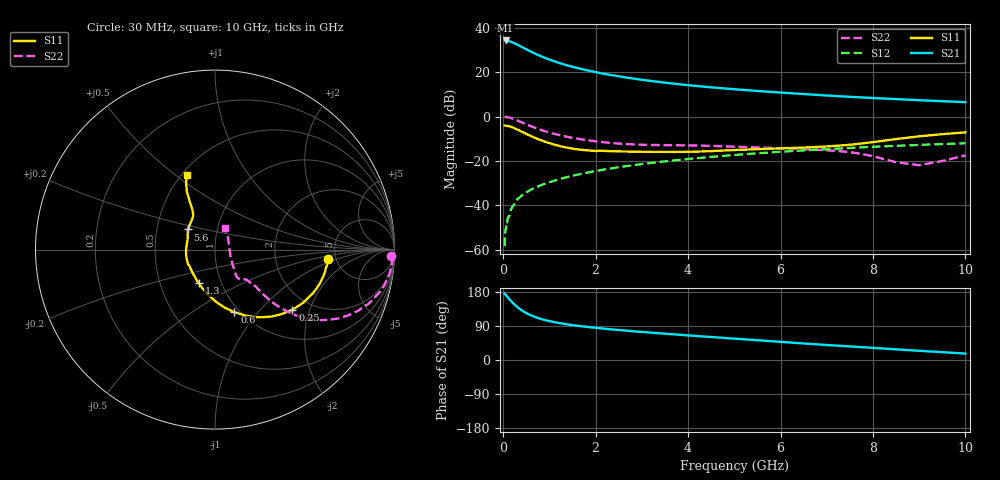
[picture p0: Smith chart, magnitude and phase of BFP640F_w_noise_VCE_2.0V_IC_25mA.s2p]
! Infineon Technologies  Discrete & RF Semiconductors
! BFP640F
! VCE =  2.0 V,  IC =  25 mA
! Common Emitter S-Parameters:  Apr 2013
# GHz  S  MA  R  50
!  f  S11  S21  S12  S22
! GHz  MAG  ANG  MAG  ANG  MAG  ANG  MAG  ANG
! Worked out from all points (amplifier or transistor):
!   99 points, 30 MHz to 10 GHz, reference 50 ohm
!   highest |S21| = 34.4 dB at 50 MHz (marker M1)
!   |S21| within 3 dB of that: start of sweep to 409.1 MHz
!   unconditionally stable (mu >= 1): 2.005 GHz to end of sweep
!   at 350 MHz: K = 0.42, MSG = 34.3 dB, |S12| = -36.5 dB
!   at 3.5 GHz: K = 1.05, MAG = 16.3 dB, |S12| = -20.2 dB
!   at 10 GHz: K = 1.04, MAG = 8.0 dB, |S12| = -12.0 dB
!   lowest NFmin = 0.90 dB at 450 MHz
!   S11 on the Smith chart (normalised r, x): 30 MHz: 4.30, -0.78; 250 MHz: 1.61, -1.54; 600 MHz: 0.94, -0.76; 1.3 GHz: 0.78, -0.31; 5.6 GHz: 0.72, +0.17; 10 GHz: 0.53, +0.55
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0.03  0.6331 -4.9  52.21 175.8  0.0012 110.8  0.9835 -2.2
0.05  0.6292 -8.2  52.5 172.8  0.0029 87.3  0.989 -4.5
0.09  0.6202 -14.5  51.59 166.6  0.0045 85.1  0.9772 -8.8
0.15  0.5972 -24.0  49.63 158.1  0.0074 79.0  0.9443 -14.9
0.2  0.5732 -31.2  47.46 151.6  0.0094 78.9  0.9088 -19.3
0.25  0.5459 -37.8  44.96 145.7  0.011 74.8  0.8673 -23.1
0.3  0.5163 -44.1  42.51 140.2  0.0137 75.2  0.8255 -26.5
0.4  0.4584 -55.3  37.6 131.0  0.0166 71.8  0.7434 -31.7
0.5  0.4088 -64.5  33.14 123.8  0.0197 71.5  0.6714 -35.4
0.6  0.3656 -72.8  29.38 117.8  0.0227 70.5  0.609 -38.1
0.7  0.3291 -80.1  26.19 113.0  0.0252 70.0  0.5553 -39.9
0.9  0.2739 -93.1  21.31 105.5  0.0307 69.6  0.4724 -41.9
1.1  0.235 -104.9  17.83 100.0  0.0358 69.4  0.4113 -42.7
1.3  0.208 -115.5  15.27 95.7  0.0413 69.0  0.3674 -42.8
1.7  0.1791 -134.6  11.84 89.0  0.0516 68.1  0.3079 -42.2
2.4  0.1663 -160.8  8.469 80.2  0.0698 65.6  0.2526 -43.4
3.4  0.1606 173.7  6.026 70.3  0.0958 61.6  0.2287 -46.5
5.1  0.1786 148.3  4.09 55.6  0.1391 52.8  0.2095 -50.8
5.6  0.1872 143.2  3.745 51.4  0.1519 50.0  0.2013 -51.2
6.7  0.2058 130.1  3.146 42.0  0.1782 43.7  0.1818 -50.7
8.5  0.3134 117.4  2.496 28.1  0.2204 33.2  0.0939 -23.1
10  0.4434 110.9  2.129 16.9  0.2519 24.3  0.1337 64.1
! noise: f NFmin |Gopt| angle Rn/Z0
0.45  0.9  0.15  -174  0.06
0.9  0.92  0.16  -169  0.06
1.5  0.95  0.16  -163  0.07
1.9  0.98  0.17  -157  0.08
2.4  1.01  0.18  -149  0.08
3.5  1.09  0.19  -139  0.1
5.5  1.27  0.22  -122  0.13
10  1.73  0.43  -86  0.42
